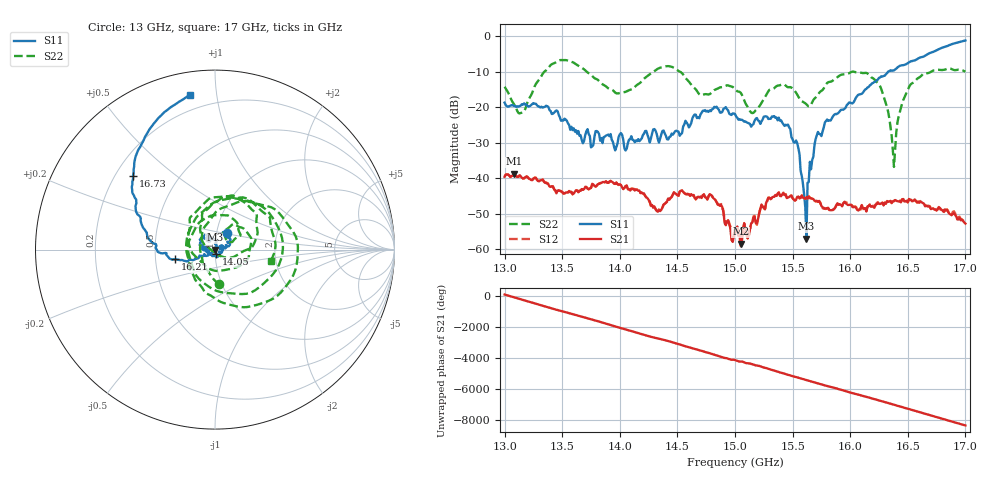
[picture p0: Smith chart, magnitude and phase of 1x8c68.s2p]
!Keysight Technologies,P9374A,MY57211807,A.19.30.04
!Date: Friday, May 08, 2026 15:13:27
!Correction: S11(C  2-Port  )
!S21(C  2-Port  )
!S12(C  2-Port  )
!S22(C  2-Port  )
!S2P File: Measurements: S11, S21, S12, S22:
# Hz S  dB  R 50
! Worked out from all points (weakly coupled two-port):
!   401 points, 13 GHz to 17 GHz, reference 50 ohm
!   highest |S21| = -38.74 dB at 13.08 GHz (marker M1); lowest = -58.4 dB at 15.05 GHz (marker M2)
!   lowest |S11| = -57.0 dB at 15.62 GHz (marker M3), VSWR 1.00, Z = 49.9 - j0.0371 ohm
!   |S11| at or under -10 dB: start of sweep to 16.33 GHz
!   |S22| runs from -36.8 to -6.7 dB; largest |S21 - S12| = 0.00036
!   S11 on the Smith chart (normalised r, x): 13 GHz: 1.12, +0.22; 14.05 GHz: 1.01, -0.05; 16.21 GHz: 0.63, -0.07; 16.73 GHz: 0.27, +0.36; 17 GHz: 0.12, +0.85
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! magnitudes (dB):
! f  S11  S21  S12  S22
! 13 GHz  -18.7  -39.6  -39.5  -14.2
! 13.08 GHz  -19.6  -38.7  -38.7  -19.1
! 13.16 GHz  -19.2  -40.0  -40.1  -21.4
! 13.46 GHz  -21.1  -43.5  -43.6  -7.0
! 13.67 GHz  -29.3  -43.1  -43.1  -8.9
! 14.05 GHz  -32.2  -42.3  -42.2  -15.7
! 14.34 GHz  -30.0  -49.0  -48.8  -9.0
! 14.79 GHz  -21.1  -44.7  -44.7  -16.1
! 15 GHz  -21.9  -54.5  -54.5  -14.9
! 15.05 GHz  -23.5  -58.4  -59.1  -15.9
! 15.15 GHz  -25.0  -52.5  -52.5  -21.7
! 15.46 GHz  -24.9  -45.4  -45.3  -14.4
! 15.54 GHz  -30.1  -45.2  -45.4  -16.4
! 15.62 GHz  -57.0  -45.3  -45.3  -19.2
! 15.67 GHz  -34.9  -45.8  -45.7  -18.6
! 15.8 GHz  -23.5  -48.4  -48.4  -13.1
! 16.21 GHz  -12.9  -48.3  -47.9  -12.2
! 16.34 GHz  -9.8  -46.5  -46.5  -23.2
! 16.38 GHz  -9.6  -46.5  -46.3  -36.8
! 16.51 GHz  -7.3  -45.8  -46.1  -14.4
! 16.73 GHz  -4.2  -48.7  -48.8  -9.6
! 17 GHz  -1.2  -52.8  -52.2  -10.0
